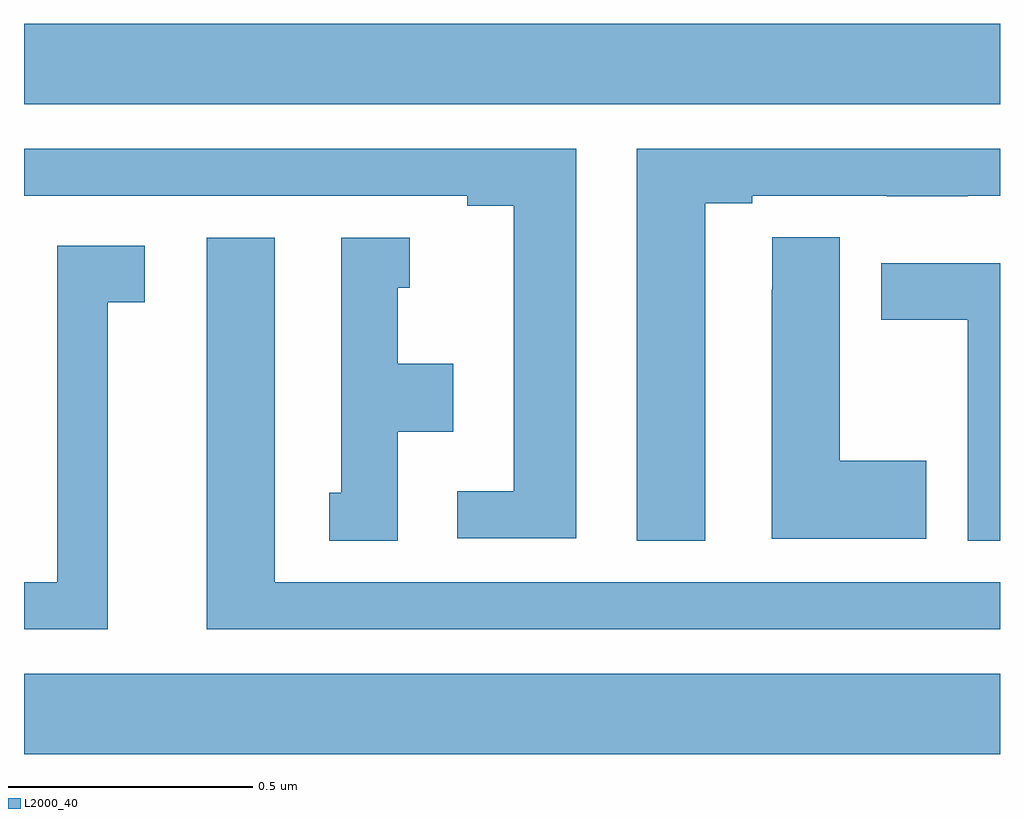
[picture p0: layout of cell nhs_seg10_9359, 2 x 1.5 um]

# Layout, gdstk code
import gdstk
lib = gdstk.Library(unit=1e-6, precision=1e-09)
def R(c, l, rs):  # rectangles x0, y0, x1, y1
    for r in rs: c.add(gdstk.rectangle(r[:2], r[2:], *l))
def P(c, l, *ps):  # polygons
    for p in ps: c.add(gdstk.Polygon(p, *l))
L2000_40 = (2000, 40)

nhs_seg10_9359 = lib.new_cell('nhs_seg10_9359')
R(nhs_seg10_9359, L2000_40, [(228,1313.636,230,1313.8), (228,1314.968,230,1315.132)])
P(nhs_seg10_9359, L2000_40, [(229.396,1314.765),(229.492,1314.765),(229.492,1314.78),(229.768,1314.78),(229.768,1314.779),(229.934,1314.779),(229.934,1314.78),(230,1314.78),(230,1314.876),(229.256,1314.876),(229.256,1314.073),(229.396,1314.073)],
  [(229.132,1314.876),(228,1314.876),(228,1314.78),(228.908,1314.78),(228.908,1314.76),(229.004,1314.76),(229.004,1314.174),(228.888,1314.174),(228.888,1314.078),(229.132,1314.078)],
  [(229.849,1314.237),(229.672,1314.237),(229.672,1314.695),(229.533,1314.695),(229.533,1314.587),(229.532,1314.587),(229.532,1314.077),(229.849,1314.077)],
  [(230,1313.988),(228.514,1313.988),(228.514,1314.694),(228.374,1314.694),(228.374,1313.892),(230,1313.892)],
  [(228.766,1314.296),(228.88,1314.296),(228.88,1314.436),(228.766,1314.436),(228.766,1314.591),(228.79,1314.591),(228.79,1314.694),(228.65,1314.694),(228.65,1314.171),(228.626,1314.171),(228.626,1314.073),(228.766,1314.073)],
  [(228.172,1314.562),(228.247,1314.562),(228.247,1314.678),(228.068,1314.678),(228.068,1313.988),(228,1313.988),(228,1313.892),(228.172,1313.892)],
  [(230,1314.642),(229.757,1314.642),(229.757,1314.526),(229.934,1314.526),(229.934,1314.073),(230,1314.073)])

lib.write_gds('nhs_seg10_9359.gds')
